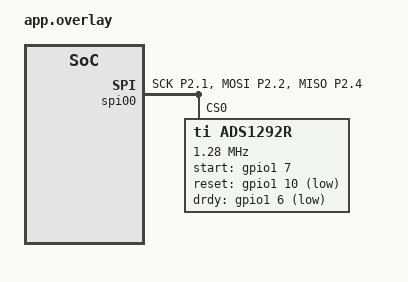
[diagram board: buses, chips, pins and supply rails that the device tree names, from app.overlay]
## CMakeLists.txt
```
cmake_minimum_required(VERSION 3.20.0)
find_package(Zephyr REQUIRED HINTS $ENV{ZEPHYR_BASE})

project(eVRT-Firmware)

set(EVRT_AUDIO_WAV_ASSET "${CMAKE_CURRENT_SOURCE_DIR}/assets/INST.WAV")
set(EVRT_GENERATED_AUDIO_ASM "${CMAKE_CURRENT_BINARY_DIR}/evrt_embedded_audio_asset.S")

if(EXISTS "${EVRT_AUDIO_WAV_ASSET}")
    cmake_path(CONVERT "${EVRT_AUDIO_WAV_ASSET}" TO_CMAKE_PATH_LIST EVRT_AUDIO_WAV_ASSET)
    configure_file(
        modules/audio/embedded_audio_asset.S.in
        "${EVRT_GENERATED_AUDIO_ASM}"
        @ONLY
    )
    target_sources(app PRIVATE "${EVRT_GENERATED_AUDIO_ASM}")
    target_compile_definitions(app PRIVATE EVRT_HAS_EMBEDDED_AUDIO=1)
    message(STATUS "Embedding audio asset: ${EVRT_AUDIO_WAV_ASSET}")
else()
    message(WARNING "Audio asset not found: ${EVRT_AUDIO_WAV_ASSET}; embedded playback will return -ENOENT")
endif()

target_sources(app PRIVATE
    app/main.c
    app/evrt_app.c
    modules/ads1292r/ads1292r.c
    modules/audio/audio_playback.c
    modules/bluetooth/ble_control.c
)

target_include_directories(app PRIVATE
    app
    modules/ads1292r
    modules/audio
    modules/bluetooth
)
```

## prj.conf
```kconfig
CONFIG_GPIO=y
CONFIG_SPI=y
CONFIG_SERIAL=y
CONFIG_CONSOLE=y
CONFIG_USE_SEGGER_RTT=y
CONFIG_RTT_CONSOLE=y
CONFIG_UART_CONSOLE=n
CONFIG_PRINTK=y
CONFIG_LOG=y
CONFIG_LOG_PRINTK=y

CONFIG_BT=y
CONFIG_BT_PERIPHERAL=y
CONFIG_BT_DEVICE_NAME="EVRT"
CONFIG_BT_DEVICE_APPEARANCE=0
CONFIG_BT_MAX_CONN=1
CONFIG_BT_GATT_DYNAMIC_DB=n
CONFIG_SYSTEM_WORKQUEUE_STACK_SIZE=2048

CONFIG_I2S=y

CONFIG_MAIN_STACK_SIZE=4096
CONFIG_HEAP_MEM_POOL_SIZE=16384
CONFIG_SPI_LOG_LEVEL_INF=y
CONFIG_NRFX_SPIM_LOG=n
```

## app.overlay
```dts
#include <zephyr/dt-bindings/gpio/gpio.h>
#include <zephyr/dt-bindings/pinctrl/nrf-pinctrl.h>

&gpio1 { status = "okay"; };
&gpio2 { status = "okay"; };
&gpiote20 { status = "okay"; };
&clock { status = "okay"; };

&pinctrl {
    ads_spi_default: ads_spi_default {
        group1 {
            psels = <NRF_PSEL(SPIM_SCK, 2, 1)>,
                    <NRF_PSEL(SPIM_MOSI, 2, 2)>;
        };
        group2 {
            psels = <NRF_PSEL(SPIM_MISO, 2, 4)>;
            bias-pull-up;
        };
    };
    ads_spi_sleep: ads_spi_sleep {
        group1 {
            psels = <NRF_PSEL(SPIM_SCK, 2, 1)>,
                    <NRF_PSEL(SPIM_MOSI, 2, 2)>,
                    <NRF_PSEL(SPIM_MISO, 2, 4)>;
            low-power-enable;
        };
    };
};

/* Disable spi20 so it doesn't conflict with uart20 */
&spi20 { status = "disabled"; };

/* Use spi00: it has been verified on the logic analyser. */
&spi00 {
    status = "okay";
    pinctrl-0 = <&ads_spi_default>;
    pinctrl-1 = <&ads_spi_sleep>;
    pinctrl-names = "default", "sleep";
    ads1292r: adc@0 {
        compatible = "ti,ads1292r";
        reg = <0>;
        spi-max-frequency = <1280000>; // SPI is derived from even divider of 128MHz clock source
        spi-cpha;
        cs-gpios = <&gpio1 5 GPIO_ACTIVE_LOW>;
        start-gpios = <&gpio1 7 GPIO_ACTIVE_HIGH>;
        reset-gpios = <&gpio1 10 GPIO_ACTIVE_LOW>;
        drdy-gpios = <&gpio1 6 GPIO_ACTIVE_LOW>;
    };
};
```

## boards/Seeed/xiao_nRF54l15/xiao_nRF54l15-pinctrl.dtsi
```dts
#include <zephyr/dt-bindings/pinctrl/nrf-pinctrl.h>

&pinctrl {
	uart20_default: uart20_default {
		group1 {
			psels = <NRF_PSEL(UART_TX, 1, 9)>;
		};
		group2 {
			psels = <NRF_PSEL(UART_RX, 1, 8)>;
			bias-pull-up;
		};
	};
	uart20_sleep: uart20_sleep {
		group1 {
			psels = <NRF_PSEL(UART_TX, 1, 9)>, <NRF_PSEL(UART_RX, 1, 8)>;
			low-power-enable;
		};
	};
};
```

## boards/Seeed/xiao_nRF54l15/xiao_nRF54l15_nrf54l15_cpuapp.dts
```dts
/dts-v1/;
#include <nordic/nrf54l15_cpuapp.dtsi>
#include "xiao_nRF54l15-pinctrl.dtsi"

/ {
	model = "Xiao nRF54L15 board";
	compatible = "Seeed,xiao-nRF54l15-cpuapp";

	chosen {
		zephyr,console = &uart20;
		zephyr,code-partition = &slot0_partition;
		zephyr,sram = &cpuapp_sram;
		zephyr,flash = &cpuapp_rram;
		zephyr,flash-controller = &rram_controller;
	};
};

&uart20 {
	status = "okay";
	current-speed = <115200>;
	pinctrl-0 = <&uart20_default>;
	pinctrl-1 = <&uart20_sleep>;
	pinctrl-names = "default", "sleep";
};

&grtc {
	owned-channels = <0 1 2 3 4 5 6 7 8 9 10 11>;
	/* Channels 7-11 reserved for Zero Latency IRQs, 3-4 for FLPR */
	child-owned-channels = <3 4 7 8 9 10 11>;
	status = "okay";
};

&cpuapp_sram {
	status = "okay";
};

#include <nordic/nrf54l15_partition.dtsi>
```

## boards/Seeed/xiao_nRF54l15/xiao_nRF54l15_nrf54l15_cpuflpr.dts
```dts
/dts-v1/;
#include <nordic/nrf54l15_cpuflpr.dtsi>
#include "xiao_nRF54l15-pinctrl.dtsi"

/ {
	model = "Xiao nRF54L15 board";
	compatible = "Seeed,xiao-nRF54l15-cpuflpr";

	chosen {
		zephyr,code-partition = &cpuflpr_code_partition;
		zephyr,flash = &cpuflpr_rram;
		zephyr,sram = &cpuflpr_sram;
	};
};

&cpuflpr_sram {
	status = "okay";
	reg = <0x20028000 DT_SIZE_K(96)>;
	ranges = <0x0 0x20028000 DT_SIZE_K(96)>;
};

&cpuflpr_rram {
	partitions {
		compatible = "fixed-partitions";
		#address-cells = <1>;
		#size-cells = <1>;

		cpuflpr_code_partition: partition@0 {
			label = "image-0";
			reg = <0x0 DT_SIZE_K(96)>;
		};
	};
};

&grtc {
	owned-channels = <3 4>;
	status = "okay";
};
```

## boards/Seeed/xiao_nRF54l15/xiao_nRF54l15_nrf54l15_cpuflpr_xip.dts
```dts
#include "xiao_nRF54l15_nrf54l15_cpuflpr.dts"

/ {
	compatible = "Seeed,xiao-nRF54l15-cpuflpr-xip";
};

&cpuflpr_sram {
	reg = <0x2002f000 DT_SIZE_K(68)>;
	ranges = <0x0 0x2002f000 DT_SIZE_K(68)>;
};
```

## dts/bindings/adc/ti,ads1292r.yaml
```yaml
description: ADS1292R application-local SPI transport
compatible: "ti,ads1292r"
include: spi-device.yaml
properties:
  start-gpios:
    type: phandle-array
    required: true
  reset-gpios:
    type: phandle-array
    required: true
  drdy-gpios:
    type: phandle-array
    required: true
  cs-gpios:
    type: phandle-array
    required: true
```

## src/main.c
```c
#include <stdint.h>
#include <zephyr/kernel.h>
#include "ads1292r.h"

#define SAMPLE_PRINT_INTERVAL 25U

int main(void)
{
    printk("ADS1292R firmware build: spi00-test-signal-flow v2\n");
    printk("ADS1292R SPI transport: mode 1, 1.28 MHz\n");

    int ret = ads1292r_init();
    if (ret) {
        printk("ADS1292R initialization failed: %d\n", ret);
        return 0;
    }

    uint32_t sample_count = 0;

    while (1) {
        struct ads1292r_sample sample;

        ret = ads1292r_wait_for_sample(K_MSEC(1500));
        if (ret) {
            printk("ADS1292R DRDY timeout: %d\n", ret);
            continue;
        }

        ret = ads1292r_read_sample(&sample);
        if (ret) {
            printk("ADS1292R sample read failed: %d\n", ret);
            continue;
        }

        sample_count++;
        if ((sample_count % SAMPLE_PRINT_INTERVAL) == 0U) {
            printk("ADS sample %lu: status=%06x ch1=%ld ch2=%ld raw=%02x %02x %02x %02x %02x %02x %02x %02x %02x\n",
                   (unsigned long)sample_count, sample.status,
                   (long)sample.ch1, (long)sample.ch2,
                   sample.raw[0], sample.raw[1], sample.raw[2], sample.raw[3], sample.raw[4],
                   sample.raw[5], sample.raw[6], sample.raw[7], sample.raw[8]);
        }
    }
}
```

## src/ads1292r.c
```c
#include "ads1292r.h"
#include <errno.h>
#include <string.h>
#include <zephyr/kernel.h>
#include <zephyr/drivers/gpio.h>
#include <zephyr/drivers/spi.h>

#define ADS_NODE DT_NODELABEL(ads1292r)
#define CMD_START 0x08
#define CMD_STOP 0x0a
#define CMD_RDATAC 0x10
#define CMD_SDATAC 0x11
#define CMD_RDATA 0x12
#define CMD_RREG 0x20
#define CMD_WREG 0x40

#define REG_CONFIG1 ADS1292R_REG_CONFIG1
#define REG_CONFIG2 ADS1292R_REG_CONFIG2
#define REG_LOFF ADS1292R_REG_LOFF
#define REG_CH1SET ADS1292R_REG_CH1SET
#define REG_CH2SET ADS1292R_REG_CH2SET
#define REG_RLDSENS ADS1292R_REG_RLDSENS
#define REG_LOFFSENS ADS1292R_REG_LOFFSENS
#define REG_RESP1 ADS1292R_REG_RESP1
#define REG_RESP2 ADS1292R_REG_RESP2
#define REG_GPIO ADS1292R_REG_GPIO

/* Mode 1 comes from spi-cpha in DT. 10 us CS setup/hold exceeds
 * the 3 tCLK final-clock-to-CS minimum at nominal 512 kHz CLK.
 * SPIM00 on nRF54L15 uses a 128 MHz source with an even prescaler. 1.28 MHz maps exactly to divisor 100 and stays comfortably below the ADS1292R limit.
 */
static const struct spi_dt_spec bus =
    SPI_DT_SPEC_GET(ADS_NODE, SPI_OP_MODE_MASTER | SPI_WORD_SET(8), 10);
static const struct gpio_dt_spec cs = GPIO_DT_SPEC_GET(ADS_NODE, cs_gpios);
static const struct gpio_dt_spec start = GPIO_DT_SPEC_GET(ADS_NODE, start_gpios);
static const struct gpio_dt_spec reset = GPIO_DT_SPEC_GET(ADS_NODE, reset_gpios);
static const struct gpio_dt_spec drdy = GPIO_DT_SPEC_GET(ADS_NODE, drdy_gpios);
static K_MUTEX_DEFINE(lock);
static bool ready;


static int transfer(uint8_t *tx, uint8_t *rx, size_t length);

/* Caller holds lock. Buffers are in RAM for EasyDMA. CS is controlled manually
 * so register sequences can keep it low across command bytes while still
 * inserting ADS1292R decode-time gaps.
 */
static int transfer(uint8_t *tx, uint8_t *rx, size_t length)
{
    struct spi_buf tx_buf = {.buf = tx, .len = length};
    struct spi_buf rx_buf = {.buf = rx, .len = length};
    struct spi_config config = bus.config;
    const struct spi_buf_set tx_set = {.buffers = &tx_buf, .count = 1};
    const struct spi_buf_set rx_set = {
        .buffers = rx ? &rx_buf : NULL,
        .count = rx ? 1 : 0,
    };

    config.cs.gpio.port = NULL;
    int ret = spi_transceive(bus.bus, &config, &tx_set, rx ? &rx_set : NULL);
    k_busy_wait(10);
    return ret;
}

static int command_locked(uint8_t value)
{
    int ret = gpio_pin_set_dt(&cs, 1);
    if (ret) { return ret; }

    k_busy_wait(100);
    ret = transfer(&value, NULL, 1);
    k_busy_wait(100);

    int cs_ret = gpio_pin_set_dt(&cs, 0);
    return ret ? ret : cs_ret;
}

static uint8_t sanitize_write(uint8_t address, uint8_t value)
{
    switch (address) {
    case REG_CONFIG1:
        return value & 0x87;
    case REG_CONFIG2:
        return (value & 0xfb) | 0x80;
    case REG_LOFF:
        return (value & 0xfd) | 0x10;
    case REG_LOFFSENS:
        return value & 0x3f;
    case 0x08:
        return value & 0x5f;
    case REG_RESP1:
        return value | 0x02;
    case REG_RESP2:
        return (value & 0x87) | 0x01;
    case 0x0b:
        return value & 0x0f;
    default:
        return value;
    }
}

static int register_transaction_locked(uint8_t address, uint8_t *read_values,
                                       const uint8_t *write_values, size_t count)
{
    uint8_t command = (write_values ? CMD_WREG : CMD_RREG) | address;
    uint8_t byte_count = count - 1;
    uint8_t zeros[ADS1292R_REGISTER_COUNT] = {0};
    uint8_t rx[ADS1292R_REGISTER_COUNT] = {0};
    int ret;
    int cs_ret;

    ret = gpio_pin_set_dt(&cs, 1);
    if (ret) { return ret; }
    k_sleep(K_MSEC(2));

    ret = transfer(&command, NULL, 1);
    if (ret) { goto out; }
    k_sleep(K_MSEC(2));
    ret = transfer(&byte_count, NULL, 1);
    if (ret) { goto out; }
    k_sleep(K_MSEC(2));

    if (write_values) {
        memcpy(zeros, write_values, count);
        ret = transfer(zeros, NULL, count);
    } else {
        ret = transfer(zeros, rx, count);
        if (ret == 0) {
            printk("ADS1292R RX:");
            for (size_t i = 0; i < count; ++i) {
                printk(" %02x", rx[i]);
            }
            printk("\n");
            memcpy(read_values, rx, count);
        }
    }

out:
    cs_ret = gpio_pin_set_dt(&cs, 0);
    if (ret == 0) { ret = cs_ret; }
    return ret;
}

static int write_register_locked(uint8_t address, uint8_t value)
{
    uint8_t safe = sanitize_write(address, value);
    int ret = register_transaction_locked(address, NULL, &safe, 1);

    printk("WREG 0x%02x=0x%02x ret=%d\n", address, safe, ret);
    k_sleep(K_MSEC(10));
    return ret;
}

static int configure_internal_test_locked(void)
{
    int ret;

    /* Datasheet test-signal setup for bring-up without electrodes:
     * - CONFIG1 0x00: 125 SPS, high-resolution mode default fields.
     * - CONFIG2 0xa3: internal reference/test source enabled, 1 Hz test signal.
     * - CH1SET 0x45: channel 1 enabled, gain 6, input mux = test signal.
     * - CH2SET 0x45: channel 2 enabled, gain 6, input mux = test signal.
     * Other values follow the ProtoCentral baseline, with respiration disabled for now.
     */
    ret = write_register_locked(REG_CONFIG1, 0x00);
    if (ret) { return ret; }
    ret = write_register_locked(REG_CONFIG2, 0xa3);
    if (ret) { return ret; }
    ret = write_register_locked(REG_LOFF, 0x10);
    if (ret) { return ret; }
    ret = write_register_locked(REG_CH1SET, 0x45);
    if (ret) { return ret; }
    ret = write_register_locked(REG_CH2SET, 0x45);
    if (ret) { return ret; }
    ret = write_register_locked(REG_RLDSENS, 0x00);
    if (ret) { return ret; }
    ret = write_register_locked(REG_LOFFSENS, 0x00);
    if (ret) { return ret; }
    ret = write_register_locked(REG_RESP1, 0x02);
    if (ret) { return ret; }
    ret = write_register_locked(REG_RESP2, 0x01);
    if (ret) { return ret; }
    ret = write_register_locked(REG_GPIO, 0x0c);
    if (ret) { return ret; }

    return 0;
}

int ads1292r_init(void)
{
    int ret;
    uint8_t regs[ADS1292R_REGISTER_COUNT] = {0};

    k_mutex_lock(&lock, K_FOREVER);
    ready = false;
    printk("ADS init step 1: checking devices\n");
    printk("ADS init ready: spi=%d cs=%d start=%d reset=%d drdy=%d\n",
           device_is_ready(bus.bus), gpio_is_ready_dt(&cs),
           gpio_is_ready_dt(&start), gpio_is_ready_dt(&reset), gpio_is_ready_dt(&drdy));
    if (!device_is_ready(bus.bus) || !gpio_is_ready_dt(&start) ||
        !gpio_is_ready_dt(&reset) || !gpio_is_ready_dt(&drdy) ||
        !gpio_is_ready_dt(&cs)) {
        ret = -ENODEV;
        goto out;
    }

    ret = gpio_pin_configure_dt(&cs, GPIO_OUTPUT_INACTIVE);
    if (ret) { goto out; }
    ret = gpio_pin_configure_dt(&start, GPIO_OUTPUT_INACTIVE);
    if (ret) { goto out; }
    ret = gpio_pin_configure_dt(&reset, GPIO_OUTPUT_INACTIVE);
    if (ret) { goto out; }
    ret = gpio_pin_configure_dt(&drdy, GPIO_INPUT);
    if (ret) { goto out; }
    printk("ADS init step 2: GPIO configured\n");
    printk("Running ADS1292R initial power-up flow with internal test signals\n");

    ret = gpio_pin_set_dt(&cs, 0);
    if (ret) { goto out; }
    ret = gpio_pin_set_dt(&start, 0);
    if (ret) { goto out; }

    printk("ADS init step 3: /RESET low for 100 ms\n");
    ret = gpio_pin_set_dt(&reset, 1);
    if (ret) { goto out; }
    k_sleep(K_MSEC(100));

    printk("ADS init step 4: /RESET high, waiting 1 s\n");
    ret = gpio_pin_set_dt(&reset, 0);
    if (ret) { goto out; }
    k_sleep(K_SECONDS(1));

    printk("ADS init step 5: SDATAC before register programming\n");
    ret = command_locked(CMD_SDATAC);
    if (ret) { goto out; }
    k_sleep(K_MSEC(300));

    printk("ADS init step 6: programming internal test-signal registers\n");
    ret = configure_internal_test_locked();
    if (ret) { goto out; }

    ret = register_transaction_locked(ADS1292R_REG_ID, regs, NULL, ADS1292R_REGISTER_COUNT);
    if (ret) { goto out; }
    printk("ADS register image:");
    for (size_t i = 0; i < ADS1292R_REGISTER_COUNT; ++i) {
        printk(" %02x", regs[i]);
    }
    printk("\n");

    printk("ADS init step 7: START pin high, START command, and RDATAC\n");
    ret = gpio_pin_set_dt(&start, 1);
    if (ret) { goto out; }
    k_sleep(K_MSEC(10));
    ret = command_locked(CMD_START);
    if (ret) { goto out; }
    k_sleep(K_MSEC(10));
    ret = command_locked(CMD_RDATAC);
    if (ret) { goto out; }

    ready = true;
    ret = 0;
out:
    k_mutex_unlock(&lock);
    return ret;
}

static int registers(uint8_t address, uint8_t *read_values,
                     const uint8_t *write_values, size_t count)
{
    int ret;

    if (count == 0 || address >= ADS1292R_REGISTER_COUNT ||
        count > ADS1292R_REGISTER_COUNT - address) {
        return -EINVAL;
    }
    k_mutex_lock(&lock, K_FOREVER);
    if (!ready) {
        ret = -EACCES;
        goto out;
    }

    ret = register_transaction_locked(address, read_values, write_values, count);

out:
    k_mutex_unlock(&lock);
    return ret;
}

int ads1292r_read_registers(uint8_t address, uint8_t *values, size_t count)
{
    if (!values) { return -EINVAL; }
    return registers(address, values, NULL, count);
}

int ads1292r_write_registers(uint8_t address, const uint8_t *values, size_t count)
{
    if (!values || address == ADS1292R_REG_ID) { return -EINVAL; }
    return registers(address, NULL, values, count);
}



int ads1292r_wait_for_sample(k_timeout_t timeout)
{
    k_timepoint_t end = sys_timepoint_calc(timeout);

    do {
        int value = gpio_pin_get_dt(&drdy);

        if (value < 0) {
            return value;
        }
        if (value > 0) {
            return 0;
        }
        k_sleep(K_MSEC(1));
    } while (!sys_timepoint_expired(end));

    return -ETIMEDOUT;
}

static int32_t sign_extend_24(const uint8_t bytes[3])
{
    int32_t value = ((int32_t)bytes[0] << 16) | ((int32_t)bytes[1] << 8) | bytes[2];

    if (value & 0x00800000) {
        value |= 0xff000000;
    }

    return value;
}

int ads1292r_read_sample(struct ads1292r_sample *sample)
{
    uint8_t zeros[ADS1292R_FRAME_SIZE] = {0};
    uint8_t rx[ADS1292R_FRAME_SIZE] = {0};
    int ret;
    int cs_ret;

    if (!sample) { return -EINVAL; }

    k_mutex_lock(&lock, K_FOREVER);
    if (!ready) {
        ret = -EACCES;
        goto out;
    }

    ret = gpio_pin_set_dt(&cs, 1);
    if (ret) { goto out; }
    k_busy_wait(100);

    ret = transfer(zeros, rx, sizeof(rx));
    k_busy_wait(100);

    cs_ret = gpio_pin_set_dt(&cs, 0);
    if (ret == 0) { ret = cs_ret; }
    if (ret) { goto out; }

    memcpy(sample->raw, rx, sizeof(rx));
    sample->status = ((uint32_t)rx[0] << 16) | ((uint32_t)rx[1] << 8) | rx[2];
    sample->ch1 = sign_extend_24(&rx[3]);
    sample->ch2 = sign_extend_24(&rx[6]);

out:
    k_mutex_unlock(&lock);
    return ret;
}
```

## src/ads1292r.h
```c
#ifndef ADS1292R_H
#define ADS1292R_H

#include <stddef.h>
#include <stdint.h>
#include <zephyr/kernel.h>

#define ADS1292R_REG_ID 0x00
#define ADS1292R_REG_CONFIG1 0x01
#define ADS1292R_REG_CONFIG2 0x02
#define ADS1292R_REG_LOFF 0x03
#define ADS1292R_REG_CH1SET 0x04
#define ADS1292R_REG_CH2SET 0x05
#define ADS1292R_REG_RLDSENS 0x06
#define ADS1292R_REG_LOFFSENS 0x07
#define ADS1292R_REG_LOFFSTAT 0x08
#define ADS1292R_REG_RESP1 0x09
#define ADS1292R_REG_RESP2 0x0a
#define ADS1292R_REG_GPIO 0x0b
#define ADS1292R_REGISTER_COUNT 12
#define ADS1292R_EXPECTED_ID 0x73
#define ADS1292R_FRAME_SIZE 9

struct ads1292r_sample {
    uint32_t status;
    int32_t ch1;
    int32_t ch2;
    uint8_t raw[ADS1292R_FRAME_SIZE];
};

int ads1292r_init(void);
int ads1292r_read_registers(uint8_t address, uint8_t *values, size_t count);
int ads1292r_write_registers(uint8_t address, const uint8_t *values, size_t count);
int ads1292r_wait_for_sample(k_timeout_t timeout);
int ads1292r_read_sample(struct ads1292r_sample *sample);

#endif
```
